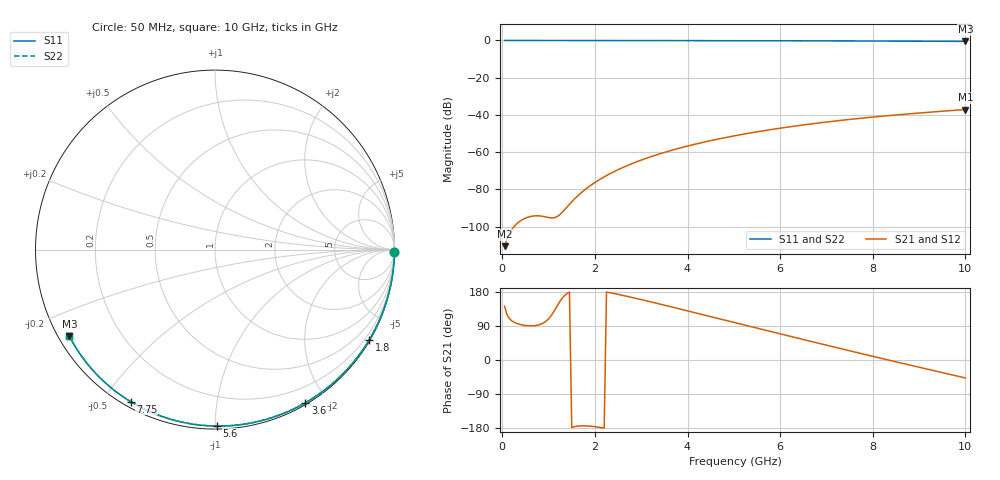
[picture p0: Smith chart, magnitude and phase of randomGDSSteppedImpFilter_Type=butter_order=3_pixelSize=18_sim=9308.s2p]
! freq	dB(S11)	phase(S11)	dB(S12)	phase(S12)
!  dB(S21)	phase(S21)	dB(S22)	phase(S22)
!S-par simulation data
#  GHz  S  DB  R 50
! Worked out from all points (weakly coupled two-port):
!   200 points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, 50 MHz to 10 GHz, reference 50 ohm
!   highest |S21| = -37.11 dB at 10 GHz (marker M1); lowest = -110.5 dB at 50 MHz (marker M2)
!   lowest |S11| = -0.5 dB at 10 GHz (marker M3), VSWR 34.78, Z = 1.55 - j13.8 ohm
!   |S11| at or under -10 dB: nowhere
!   |S22| runs from -0.5 to 0.0 dB; largest |S21 - S12| = 0
!   S11 on the Smith chart (normalised r, x): 50 MHz: open; 1.8 GHz: 0.03, -3.67; 3.6 GHz: 0.02, -1.75; 5.6 GHz: 0.02, -1.01; 7.75 GHz: 0.02, -0.59; 10 GHz: 0.03, -0.28
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0.05  -0.00 -0.9  -110.51 141.9  -110.51 141.9  -0.00 -0.9
0.45  -0.01 -7.7  -96.02 92.1  -96.02 92.1  -0.01 -7.7
0.9  -0.02 -15.4  -94.60 98.6  -94.60 98.6  -0.02 -15.4
1.3  -0.03 -22.1  -92.14 164.0  -92.14 164.0  -0.03 -22.1
1.75  -0.04 -29.7  -80.83 -173.7  -80.83 -173.7  -0.04 -29.7
1.8  -0.04 -30.5  -79.84 -173.8  -79.84 -173.8  -0.04 -30.5
1.95  -0.04 -33.0  -77.12 -175.2  -77.12 -175.2  -0.04 -33.0
2.1  -0.05 -35.4  -74.72 -177.6  -74.72 -177.6  -0.05 -35.4
2.3  -0.05 -38.7  -71.90 178.1  -71.90 178.1  -0.05 -38.7
2.5  -0.05 -42.0  -69.42 173.2  -69.42 173.2  -0.05 -42.0
2.9  -0.06 -48.4  -65.19 162.3  -65.19 162.3  -0.06 -48.4
3.4  -0.07 -56.3  -60.90 147.7  -60.90 147.7  -0.07 -56.3
3.6  -0.08 -59.5  -59.41 141.7  -59.41 141.7  -0.08 -59.5
4.3  -0.10 -70.2  -54.93 120.5  -54.93 120.5  -0.10 -70.2
5.05  -0.13 -81.4  -51.06 97.7  -51.06 97.7  -0.13 -81.4
5.6  -0.15 -89.3  -48.67 81.1  -48.67 81.1  -0.15 -89.3
6.15  -0.17 -97.1  -46.58 64.5  -46.58 64.5  -0.17 -97.1
6.7  -0.20 -104.8  -44.73 48.0  -44.73 48.0  -0.20 -104.8
7.75  -0.28 -119.1  -41.77 17.0  -41.77 17.0  -0.28 -119.1
8.35  -0.33 -127.1  -40.35 -0.5  -40.35 -0.5  -0.33 -127.1
9.2  -0.41 -138.5  -38.59 -24.8  -38.59 -24.8  -0.41 -138.4
10  -0.50 -149.2  -37.11 -47.4  -37.11 -47.4  -0.50 -149.2
